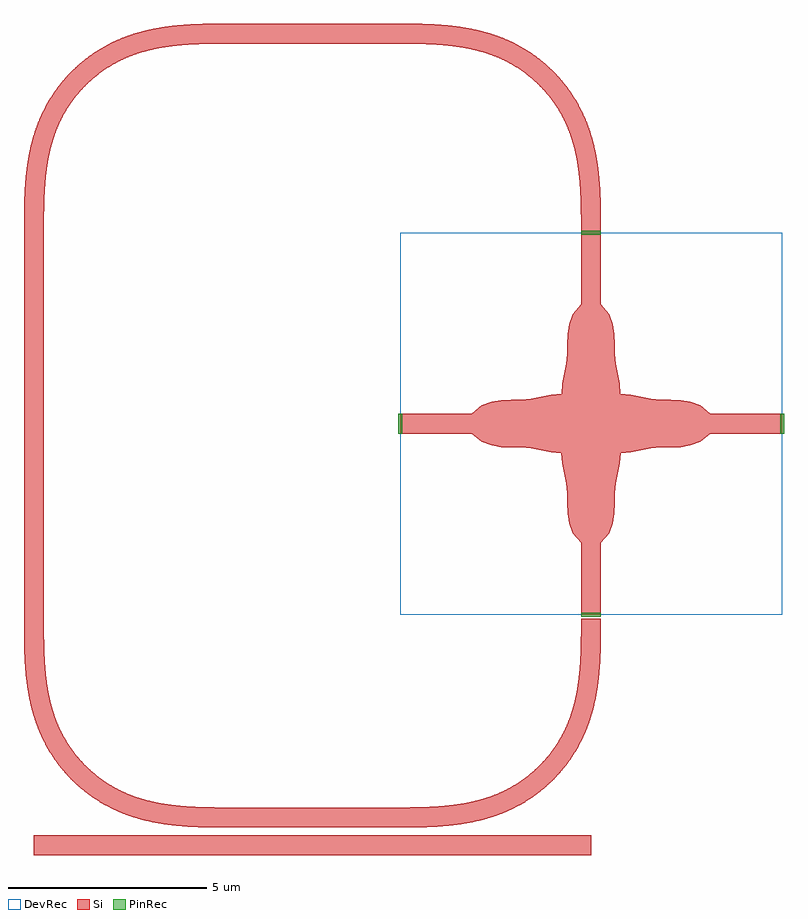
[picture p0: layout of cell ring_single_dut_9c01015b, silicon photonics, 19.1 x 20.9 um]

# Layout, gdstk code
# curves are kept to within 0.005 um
from math import pi, radians
import gdstk
lib = gdstk.Library(unit=1e-6, precision=1e-09)
def R(c, l, rs):  # rectangles x0, y0, x1, y1
    for r in rs: c.add(gdstk.rectangle(r[:2], r[2:], *l))
def P(c, l, *ps):  # polygons
    for p in ps: c.add(gdstk.Polygon(p, *l))
Si = (1, 0)
PinRec = (1, 10)
DevRec = (68, 0)

coupler_ring = lib.new_cell('coupler_ring')
R(coupler_ring, Si, [(-9,-0.25,-4,0.25), (-4,-0.25,0,0.25), (0,-0.25,5,0.25), (-4,0.45,0,0.95)])
P(coupler_ring, Si, [(-4,0.45),(-4.824,0.459),(-5.398,0.495),(-5.686,0.529),(-5.926,0.568),(-6.357,0.667),(-6.617,0.748),(-6.826,0.828),(-7.078,0.943),(-7.255,1.038),(-7.469,1.17),(-7.674,1.316),(-7.85,1.459),(-8.017,1.612),(-8.208,1.812),(-8.353,1.986),(-8.502,2.189),(-8.611,2.358),(-8.722,2.555),(-8.822,2.759),(-8.918,2.99),(-8.991,3.201),(-9.052,3.414),(-9.123,3.726),(-9.171,4.014),(-9.205,4.302),(-9.241,4.876),(-9.25,5.7),(-8.75,5.7),(-8.744,4.984),(-8.719,4.485),(-8.693,4.217),(-8.652,3.93),(-8.605,3.691),(-8.557,3.498),(-8.48,3.248),(-8.402,3.045),(-8.32,2.867),(-8.228,2.693),(-8.125,2.525),(-8.013,2.364),(-7.891,2.21),(-7.73,2.032),(-7.556,1.866),(-7.405,1.74),(-7.229,1.611),(-7.045,1.494),(-6.715,1.324),(-6.513,1.242),(-6.307,1.173),(-6.095,1.115),(-5.858,1.064),(-5.594,1.021),(-5.372,0.995),(-5.102,0.973),(-4.784,0.958),(-4,0.95)],
  [(0,0.45),(0.824,0.459),(1.398,0.495),(1.686,0.529),(1.926,0.568),(2.357,0.667),(2.617,0.748),(2.826,0.828),(3.078,0.943),(3.255,1.038),(3.469,1.17),(3.674,1.316),(3.85,1.459),(4.017,1.612),(4.208,1.812),(4.353,1.986),(4.502,2.189),(4.611,2.358),(4.722,2.555),(4.822,2.759),(4.918,2.99),(4.991,3.201),(5.052,3.414),(5.123,3.726),(5.171,4.014),(5.205,4.302),(5.241,4.876),(5.25,5.7),(4.75,5.7),(4.744,4.984),(4.719,4.485),(4.693,4.217),(4.652,3.93),(4.605,3.691),(4.557,3.498),(4.48,3.248),(4.402,3.045),(4.32,2.867),(4.228,2.693),(4.125,2.525),(4.013,2.364),(3.891,2.21),(3.73,2.032),(3.556,1.866),(3.405,1.74),(3.229,1.611),(3.045,1.494),(2.715,1.324),(2.513,1.242),(2.307,1.173),(2.095,1.115),(1.858,1.064),(1.594,1.021),(1.372,0.995),(1.102,0.973),(0.784,0.958),(0,0.95)])

straight_f1bd64ef = lib.new_cell('straight_f1bd64ef')
R(straight_f1bd64ef, Si, [(0,-0.25,9.7,0.25)])

ebeam_crossing4 = lib.new_cell('ebeam_crossing4')
P(ebeam_crossing4, Si, [(-0.25,-4.8),(-0.25,-3),(-0.46,-2.75),(-0.55,-2.5),(-0.59,-2.25),(-0.6,-1.75),(-0.62,-1.5),(-0.72,-1),(-0.75,-0.74),(-1,-0.72),(-1.5,-0.62),(-1.75,-0.6),(-2.25,-0.59),(-2.5,-0.55),(-2.75,-0.46),(-3,-0.25),(-4.8,-0.25),(-4.8,0.25),(-3,0.25),(-2.75,0.46),(-2.5,0.55),(-2.25,0.59),(-1.75,0.6),(-1.5,0.62),(-1,0.72),(-0.75,0.74),(-0.72,1),(-0.62,1.5),(-0.6,1.75),(-0.59,2.25),(-0.55,2.5),(-0.46,2.75),(-0.25,3),(-0.25,4.8),(0.25,4.8),(0.25,3),(0.46,2.75),(0.55,2.5),(0.59,2.25),(0.6,1.75),(0.62,1.5),(0.72,1),(0.74,0.75),(1,0.72),(1.5,0.62),(1.75,0.6),(2.25,0.59),(2.5,0.55),(2.75,0.46),(3,0.25),(4.8,0.25),(4.8,-0.25),(3,-0.25),(2.75,-0.46),(2.5,-0.55),(2.25,-0.59),(1.75,-0.6),(1.5,-0.62),(1,-0.72),(0.74,-0.75),(0.72,-1),(0.62,-1.5),(0.6,-1.75),(0.59,-2.25),(0.55,-2.5),(0.46,-2.75),(0.25,-3),(0.25,-4.8)])
R(ebeam_crossing4, DevRec, [(-4.8,-4.8,4.8,4.8)])
ebeam_crossing4.add(gdstk.FlexPath([(-4.75,0),(-4.85,0)], 0.5, ends="flush", simple_path=True, layer=1, datatype=10))  # PinRec
ebeam_crossing4.add(gdstk.FlexPath([(4.75,0),(4.85,0)], 0.5, ends="flush", simple_path=True, layer=1, datatype=10))  # PinRec
ebeam_crossing4.add(gdstk.FlexPath([(0,-4.75),(0,-4.85)], 0.5, ends="flush", simple_path=True, layer=1, datatype=10))  # PinRec
ebeam_crossing4.add(gdstk.FlexPath([(0,4.75),(0,4.85)], 0.5, ends="flush", simple_path=True, layer=1, datatype=10))  # PinRec
ebeam_crossing4.add(gdstk.Label('Source: Wei Shi', (-4,-3), layer=10, texttype=0))
ebeam_crossing4.add(gdstk.Label('opt4', (4.8,0), layer=1, texttype=10))
ebeam_crossing4.add(gdstk.Label('opt2', (0,4.8), layer=1, texttype=10))
ebeam_crossing4.add(gdstk.Label('opt', (-4.8,0), layer=1, texttype=10))
ebeam_crossing4.add(gdstk.Label('opt3', (0,-4.8), layer=1, texttype=10))
ebeam_crossing4.add(gdstk.Label('Component=ebeam_crossing4', (-4,-1), layer=68, texttype=0))
ebeam_crossing4.add(gdstk.Label('Lumerical_INTERCONNECT_library=Design kits/ebeam', (-4,-4), layer=68, texttype=0))

bend_euler_ad3c06b6 = lib.new_cell('bend_euler_ad3c06b6')
P(bend_euler_ad3c06b6, Si, [(0,-0.25),(0.824,-0.241),(1.398,-0.205),(1.686,-0.171),(1.926,-0.132),(2.357,-0.033),(2.617,0.048),(2.826,0.128),(3.078,0.243),(3.255,0.338),(3.469,0.47),(3.674,0.616),(3.85,0.759),(4.017,0.912),(4.208,1.112),(4.353,1.286),(4.502,1.489),(4.611,1.658),(4.722,1.855),(4.822,2.059),(4.918,2.29),(4.991,2.501),(5.052,2.714),(5.123,3.026),(5.171,3.314),(5.205,3.602),(5.241,4.176),(5.25,5),(4.75,5),(4.744,4.284),(4.719,3.785),(4.693,3.517),(4.652,3.23),(4.605,2.991),(4.557,2.798),(4.48,2.548),(4.402,2.345),(4.32,2.167),(4.228,1.993),(4.125,1.825),(4.013,1.664),(3.891,1.51),(3.73,1.332),(3.556,1.166),(3.405,1.04),(3.229,0.911),(3.045,0.794),(2.715,0.624),(2.513,0.542),(2.307,0.473),(2.095,0.415),(1.858,0.364),(1.594,0.321),(1.372,0.295),(1.102,0.273),(0.784,0.258),(0,0.25)])

straight_d4cb55ff = lib.new_cell('straight_d4cb55ff')
R(straight_d4cb55ff, Si, [(0,-0.25,4,0.25)])

ring_single_dut_9c01015b = lib.new_cell('ring_single_dut_9c01015b')
ring_single_dut_9c01015b.add(gdstk.Reference(coupler_ring, (0,0)))
ring_single_dut_9c01015b.add(gdstk.Reference(straight_f1bd64ef, (-9,15.4), rotation=3*pi/2))
ring_single_dut_9c01015b.add(gdstk.Reference(ebeam_crossing4, (5,10.6), rotation=3*pi/2))
ring_single_dut_9c01015b.add(gdstk.Reference(bend_euler_ad3c06b6, (-4,20.4), rotation=pi))
ring_single_dut_9c01015b.add(gdstk.Reference(bend_euler_ad3c06b6, (5,15.4), rotation=pi/2))
ring_single_dut_9c01015b.add(gdstk.Reference(straight_d4cb55ff, (-4,20.4)))

lib.write_gds('ring_single_dut_9c01015b.gds')
